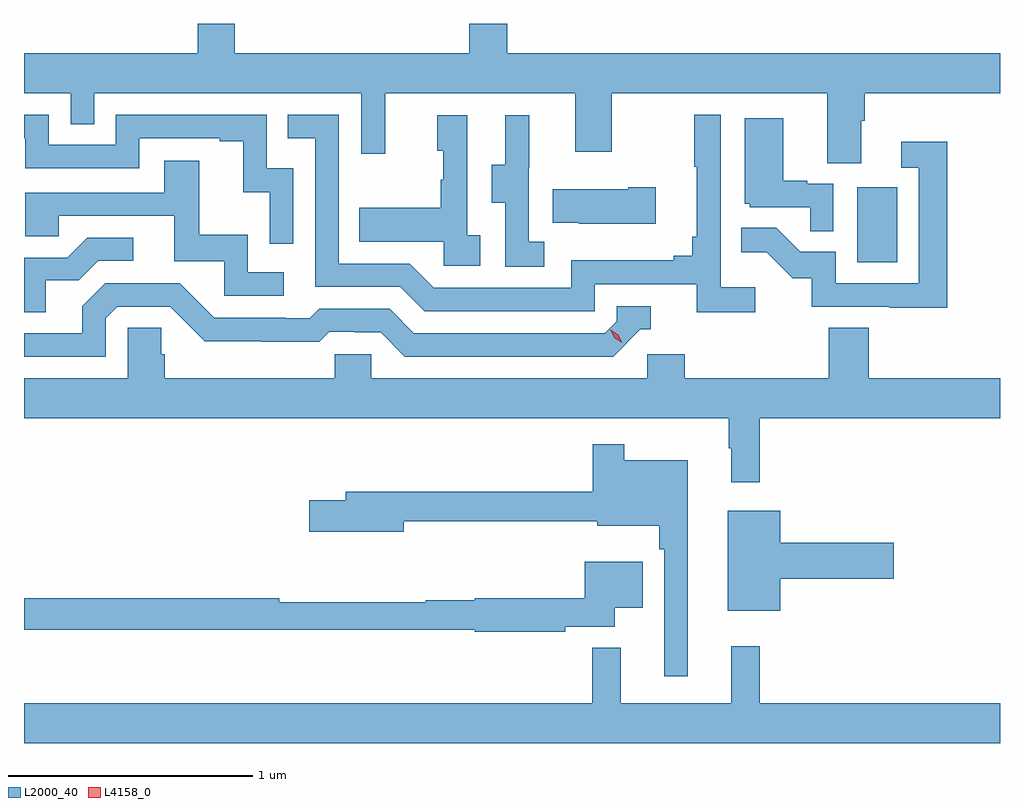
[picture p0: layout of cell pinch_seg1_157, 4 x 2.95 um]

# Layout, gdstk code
import gdstk
lib = gdstk.Library(unit=1e-6, precision=1e-09)
def R(c, l, rs):  # rectangles x0, y0, x1, y1
    for r in rs: c.add(gdstk.rectangle(r[:2], r[2:], *l))
def P(c, l, *ps):  # polygons
    for p in ps: c.add(gdstk.Polygon(p, *l))
L2000_40 = (2000, 40)
L4158_0 = (4158, 0)

pinch_seg1_157 = lib.new_cell('pinch_seg1_157')
R(pinch_seg1_157, L2000_40, [(1092.878,547.044,1093.042,547.351)])
P(pinch_seg1_157, L2000_40, [(1092.895,547.624),(1092.908,547.624),(1092.908,547.736),(1093.463,547.736),(1093.463,547.9),(1091.444,547.9),(1091.444,548.021),(1091.287,548.021),(1091.287,547.9),(1090.327,547.9),(1090.327,548.021),(1090.175,548.021),(1090.175,547.9),(1089.463,547.9),(1089.463,547.736),(1089.654,547.736),(1089.654,547.609),(1089.75,547.609),(1089.75,547.736),(1090.845,547.736),(1090.845,547.488),(1090.943,547.488),(1090.943,547.736),(1091.723,547.736),(1091.723,547.497),(1091.871,547.497),(1091.871,547.736),(1092.755,547.736),(1092.755,547.45),(1092.895,547.45)],
  [(1092.46,546.94),(1092.318,546.94),(1092.318,547.648),(1092.21,547.648),(1092.21,547.435),(1092.221,547.435),(1092.221,547.147),(1092.202,547.147),(1092.202,547.07),(1092.125,547.07),(1092.125,547.051),(1091.706,547.051),(1091.706,546.939),(1091.142,546.939),(1091.043,547.038),(1090.752,547.038),(1090.752,547.647),(1090.543,547.647),(1090.543,547.551),(1090.656,547.551),(1090.656,546.942),(1091.006,546.942),(1091.105,546.843),(1091.802,546.843),(1091.802,546.954),(1092.221,546.954),(1092.221,546.838),(1092.46,546.838)],
  [(1090.566,547.428),(1090.458,547.428),(1090.458,547.647),(1089.84,547.647),(1089.84,547.524),(1089.564,547.524),(1089.564,547.647),(1089.463,547.647),(1089.463,547.551),(1089.468,547.551),(1089.468,547.428),(1089.936,547.428),(1089.936,547.551),(1090.265,547.551),(1090.265,547.539),(1090.361,547.539),(1090.361,547.331),(1090.47,547.331),(1090.47,547.119),(1090.566,547.119)],
  [(1091.332,547.154),(1091.28,547.154),(1091.28,547.645),(1091.156,547.645),(1091.156,547.5),(1091.182,547.5),(1091.182,547.382),(1091.172,547.382),(1091.172,547.267),(1090.837,547.267),(1090.837,547.127),(1091.184,547.127),(1091.184,547.029),(1091.332,547.029)],
  [(1091.596,547.127),(1091.532,547.127),(1091.532,547.431),(1091.534,547.431),(1091.534,547.645),(1091.435,547.645),(1091.435,547.443),(1091.381,547.443),(1091.381,547.288),(1091.436,547.288),(1091.436,547.024),(1091.596,547.024)],
  [(1092.78,547.365),(1092.674,547.365),(1092.674,547.378),(1092.574,547.378),(1092.574,547.633),(1092.416,547.633),(1092.416,547.284),(1092.438,547.284),(1092.438,547.269),(1092.685,547.269),(1092.685,547.171),(1092.78,547.171)],
  [(1093.247,547.537),(1093.059,547.537),(1093.059,547.431),(1093.131,547.431),(1093.131,546.957),(1092.789,546.957),(1092.789,547.086),(1092.645,547.086),(1092.547,547.184),(1092.403,547.184),(1092.403,547.085),(1092.507,547.085),(1092.614,546.978),(1092.691,546.978),(1092.691,546.861),(1093.009,546.861),(1093.009,546.856),(1093.247,546.856)],
  [(1090.528,547.002),(1090.38,547.002),(1090.38,547.156),(1090.181,547.156),(1090.181,547.459),(1090.037,547.459),(1090.037,547.329),(1089.468,547.329),(1089.468,547.149),(1089.605,547.149),(1089.605,547.233),(1090.079,547.233),(1090.079,547.047),(1090.284,547.047),(1090.284,546.906),(1090.528,546.906)],
  [(1092.052,547.35),(1091.939,547.35),(1091.939,547.342),(1091.629,547.342),(1091.629,547.205),(1091.737,547.205),(1091.737,547.202),(1092.052,547.202)],
  [(1089.553,546.97),(1089.688,546.97),(1089.768,547.05),(1089.91,547.05),(1089.91,547.143),(1089.722,547.143),(1089.641,547.062),(1089.463,547.062),(1089.463,546.838),(1089.553,546.838)],
  [(1089.798,546.813),(1089.846,546.861),(1090.062,546.861),(1090.204,546.719),(1090.44,546.719),(1090.44,546.717),(1090.673,546.717),(1090.715,546.759),(1090.818,546.759),(1090.818,546.756),(1090.925,546.756),(1091.024,546.657),(1091.877,546.657),(1091.988,546.768),(1092.031,546.768),(1092.031,546.864),(1091.892,546.864),(1091.892,546.801),(1091.844,546.753),(1091.061,546.753),(1090.962,546.852),(1090.673,546.852),(1090.634,546.813),(1090.535,546.813),(1090.535,546.816),(1090.242,546.816),(1090.101,546.957),(1089.795,546.957),(1089.701,546.863),(1089.701,546.753),(1089.463,546.753),(1089.463,546.657),(1089.798,546.657)],
  [(1092.479,546.404),(1093.463,546.404),(1093.463,546.568),(1092.926,546.568),(1092.926,546.776),(1092.761,546.776),(1092.761,546.568),(1092.17,546.568),(1092.17,546.666),(1092.018,546.666),(1092.018,546.568),(1090.887,546.568),(1090.887,546.666),(1090.737,546.666),(1090.737,546.568),(1090.04,546.568),(1090.04,546.666),(1090.025,546.666),(1090.025,546.776),(1089.888,546.776),(1089.888,546.568),(1089.463,546.568),(1089.463,546.404),(1092.351,546.404),(1092.351,546.281),(1092.362,546.281),(1092.362,546.141),(1092.479,546.141)],
  [(1092.184,546.232),(1091.923,546.232),(1091.923,546.298),(1091.794,546.298),(1091.794,546.103),(1090.781,546.103),(1090.781,546.069),(1090.632,546.069),(1090.632,545.939),(1091.02,545.939),(1091.02,545.982),(1091.813,545.982),(1091.813,545.963),(1092.067,545.963),(1092.067,545.867),(1092.087,545.867),(1092.087,545.346),(1092.184,545.346)],
  [(1092.562,545.747),(1093.027,545.747),(1093.027,545.894),(1092.562,545.894),(1092.562,546.025),(1092.347,546.025),(1092.347,545.615),(1092.562,545.615)],
  [(1091.682,545.549),(1091.884,545.549),(1091.884,545.627),(1091.998,545.627),(1091.998,545.815),(1091.762,545.815),(1091.762,545.667),(1091.31,545.667),(1091.31,545.659),(1091.11,545.659),(1091.11,545.651),(1090.51,545.651),(1090.51,545.666),(1089.463,545.666),(1089.463,545.538),(1091.31,545.538),(1091.31,545.53),(1091.682,545.53)],
  [(1093.463,545.236),(1092.479,545.236),(1092.479,545.47),(1092.362,545.47),(1092.362,545.236),(1091.909,545.236),(1091.909,545.464),(1091.791,545.464),(1091.791,545.236),(1089.463,545.236),(1089.463,545.072),(1093.463,545.072)])
P(pinch_seg1_157, L4158_0, [(1091.914,546.714),(1091.883,546.733),(1091.866,546.766),(1091.866,546.766),(1091.867,546.766),(1091.898,546.747),(1091.915,546.714),(1091.915,546.714)])

lib.write_gds('pinch_seg1_157.gds')
